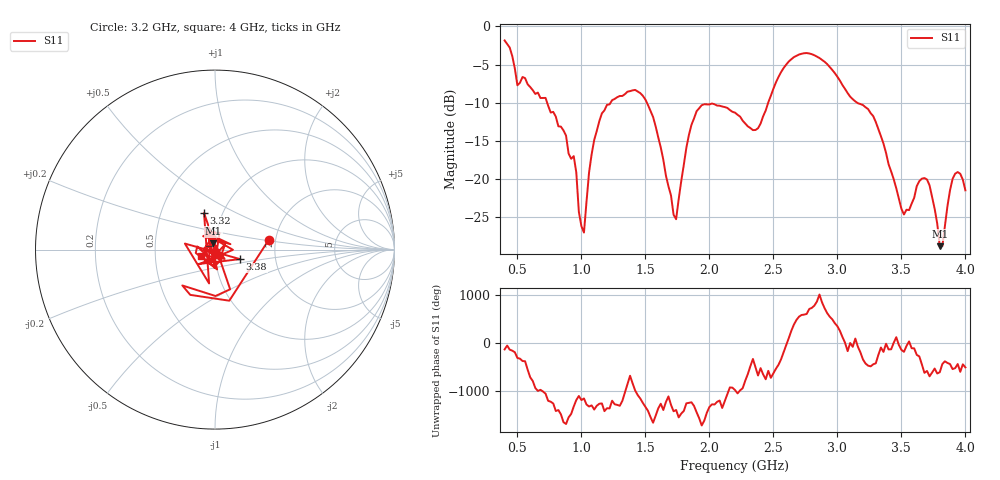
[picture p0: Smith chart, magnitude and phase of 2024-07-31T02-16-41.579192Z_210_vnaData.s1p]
!Created with skrf (http://scikit-rf.org).
# Hz S RI R 50.0
!freq ReS11 ImS11
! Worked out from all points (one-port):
!   181 points, 400 MHz to 4 GHz, reference 50 ohm
!   lowest |S11| = -28.7 dB at 3.8 GHz (marker M1), VSWR 1.08, Z = 48.9 + j3.45 ohm
!   |S11| at or under -10 dB: 732.5 MHz to 1.228 GHz (495 MHz wide, 50.5 % of centre); 1.512 GHz to 2.459 GHz (947.1 MHz wide, 47.7 % of centre); 3.155 GHz to end of sweep
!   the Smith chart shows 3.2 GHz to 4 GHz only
!   S11 on the Smith chart (normalised r, x): 3.2 GHz: 1.84, +0.23; 3.32 GHz: 0.82, +0.35; 3.38 GHz: 1.31, -0.14; 4 GHz: 0.86, -0.06
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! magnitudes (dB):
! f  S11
! 400 MHz  -1.9
! 500 MHz  -7.7
! 720 MHz  -9.4
! 860 MHz  -13.6
! 940 MHz  -17.0
! 980 MHz  -24.3
! 1.02 GHz  -27.0
! 1.1 GHz  -14.9
! 1.3 GHz  -9.1
! 1.5 GHz  -9.6
! 1.58 GHz  -13.1
! 1.72 GHz  -24.6
! 1.76 GHz  -22.6
! 1.9 GHz  -11.1
! 2.2 GHz  -11.3
! 2.38 GHz  -13.3
! 2.66 GHz  -4.0
! 2.86 GHz  -4.2
! 3.1 GHz  -9.2
! 3.2 GHz  -10.3
! 3.32 GHz  -13.4
! 3.38 GHz  -16.6
! 3.5 GHz  -23.9
! 3.56 GHz  -24.0
! 3.7 GHz  -20.0
! 3.8 GHz  -28.7
! 3.9 GHz  -19.9
! 4 GHz  -21.5
